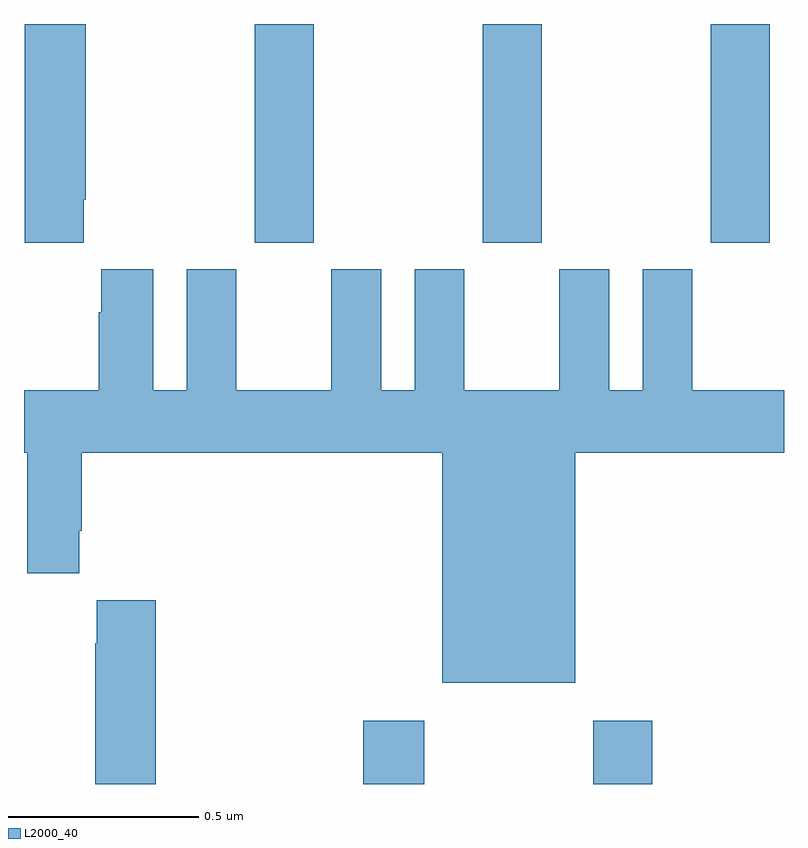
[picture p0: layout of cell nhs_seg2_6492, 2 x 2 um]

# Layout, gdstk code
import gdstk
lib = gdstk.Library(unit=1e-6, precision=1e-09)
def R(c, l, rs):  # rectangles x0, y0, x1, y1
    for r in rs: c.add(gdstk.rectangle(r[:2], r[2:], *l))
def A(c, l, x, y, w, h, nx, ny, dx, dy):  # array of equal rectangles
    R(c, l, [(x+i*dx, y+j*dy, x+i*dx+w, y+j*dy+h) for i in range(nx) for j in range(ny)])
def P(c, l, *ps):  # polygons
    for p in ps: c.add(gdstk.Polygon(p, *l))
L2000_40 = (2000, 40)

nhs_seg2_6492 = lib.new_cell('nhs_seg2_6492')
A(nhs_seg2_6492, L2000_40, 192.607, 612.225, 0.155, 0.575, 3, 1, 0.6, 0)
R(nhs_seg2_6492, L2000_40, [(192.893,610.8,193.053,610.966), (193.498,610.8,193.653,610.966)])
P(nhs_seg2_6492, L2000_40, [(192.157,612.337),(192.162,612.337),(192.162,612.8),(192.002,612.8),(192.002,612.225),(192.157,612.225)],
  [(193.45,611.672),(194,611.672),(194,611.836),(193.759,611.836),(193.759,612.154),(193.628,612.154),(193.628,611.836),(193.54,611.836),(193.54,612.154),(193.409,612.154),(193.409,611.836),(193.159,611.836),(193.159,612.154),(193.028,612.154),(193.028,611.836),(192.94,611.836),(192.94,612.154),(192.809,612.154),(192.809,611.836),(192.559,611.836),(192.559,612.154),(192.428,612.154),(192.428,611.836),(192.34,611.836),(192.34,612.154),(192.203,612.154),(192.203,612.041),(192.197,612.041),(192.197,611.836),(192,611.836),(192,611.672),(192.008,611.672),(192.008,611.355),(192.145,611.355),(192.145,611.467),(192.152,611.467),(192.152,611.672),(193.1,611.672),(193.1,611.066),(193.45,611.066)],
  [(192.347,611.284),(192.191,611.284),(192.191,611.171),(192.187,611.171),(192.187,610.8),(192.347,610.8)])

lib.write_gds('nhs_seg2_6492.gds')
